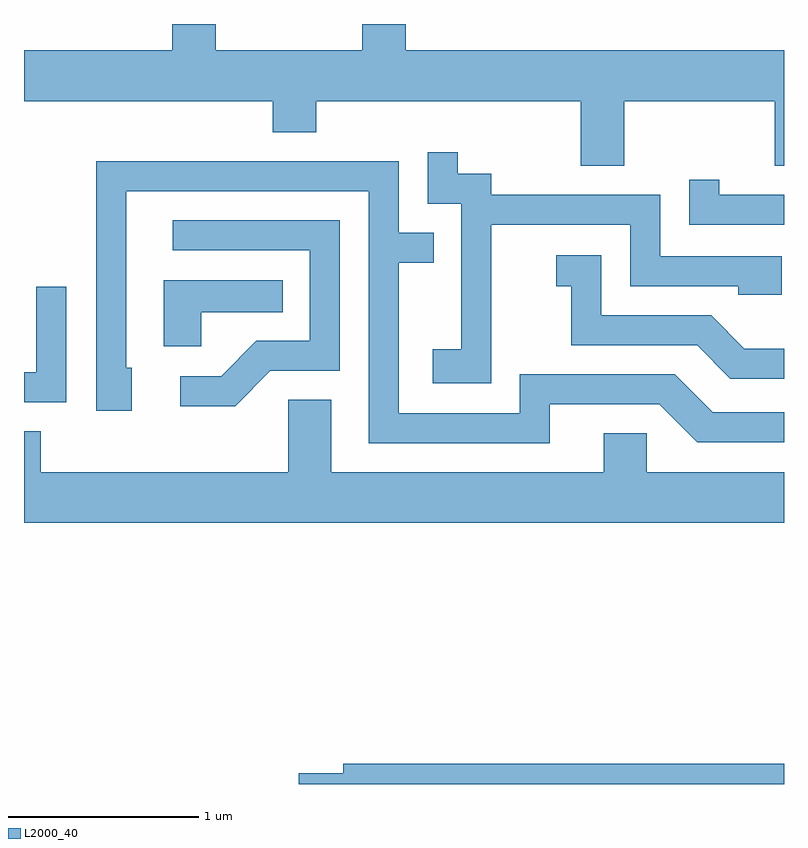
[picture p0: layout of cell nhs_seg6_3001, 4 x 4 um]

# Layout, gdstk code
import gdstk
lib = gdstk.Library(unit=1e-6, precision=1e-09)
def P(c, l, *ps):  # polygons
    for p in ps: c.add(gdstk.Polygon(p, *l))
L2000_40 = (2000, 40)

nhs_seg6_3001 = lib.new_cell('nhs_seg6_3001')
P(nhs_seg6_3001, L2000_40, [(278.769,1607.756),(279.561,1607.756),(279.561,1607.416),(279.611,1607.416),(279.611,1608.024),(277.619,1608.024),(277.619,1608.162),(277.391,1608.162),(277.391,1608.024),(276.619,1608.024),(276.619,1608.162),(276.391,1608.162),(276.391,1608.024),(275.611,1608.024),(275.611,1607.756),(276.921,1607.756),(276.921,1607.591),(277.149,1607.591),(277.149,1607.756),(278.541,1607.756),(278.541,1607.416),(278.769,1607.416)],
  [(278.069,1607.106),(278.801,1607.106),(278.801,1606.781),(279.371,1606.781),(279.371,1606.736),(279.599,1606.736),(279.599,1606.939),(278.959,1606.939),(278.959,1607.264),(278.069,1607.264),(278.069,1607.374),(277.894,1607.374),(277.894,1607.488),(277.736,1607.488),(277.736,1607.216),(277.911,1607.216),(277.911,1606.449),(277.761,1606.449),(277.761,1606.271),(278.069,1606.271)],
  [(278.379,1606.161),(278.954,1606.161),(279.154,1605.961),(279.611,1605.961),(279.611,1606.119),(279.237,1606.119),(279.037,1606.319),(278.221,1606.319),(278.221,1606.114),(277.584,1606.114),(277.584,1606.906),(277.768,1606.906),(277.768,1607.064),(277.584,1607.064),(277.584,1607.439),(275.991,1607.439),(275.991,1606.126),(276.179,1606.126),(276.179,1606.354),(276.149,1606.354),(276.149,1607.281),(277.426,1607.281),(277.426,1605.956),(278.379,1605.956)],
  [(279.611,1607.264),(279.269,1607.264),(279.269,1607.343),(279.111,1607.343),(279.111,1607.106),(279.611,1607.106)],
  [(276.907,1606.336),(277.274,1606.336),(277.274,1607.129),(276.393,1607.129),(276.393,1606.971),(277.116,1606.971),(277.116,1606.494),(276.834,1606.494),(276.649,1606.309),(276.433,1606.309),(276.433,1606.151),(276.722,1606.151)],
  [(279.611,1606.454),(279.402,1606.454),(279.227,1606.629),(278.649,1606.629),(278.649,1606.944),(278.413,1606.944),(278.413,1606.781),(278.491,1606.781),(278.491,1606.471),(279.154,1606.471),(279.329,1606.296),(279.611,1606.296)],
  [(276.544,1606.646),(276.973,1606.646),(276.973,1606.814),(276.346,1606.814),(276.346,1606.466),(276.544,1606.466)],
  [(275.834,1606.778),(275.676,1606.778),(275.676,1606.329),(275.611,1606.329),(275.611,1606.171),(275.834,1606.171)],
  [(279.611,1605.804),(278.889,1605.804),(278.889,1606.009),(278.661,1606.009),(278.661,1605.804),(277.229,1605.804),(277.229,1606.184),(277.001,1606.184),(277.001,1605.804),(275.699,1605.804),(275.699,1606.019),(275.611,1606.019),(275.611,1605.536),(279.611,1605.536)],
  [(279.611,1604.269),(277.291,1604.269),(277.291,1604.219),(277.056,1604.219),(277.056,1604.162),(279.611,1604.162)])

lib.write_gds('nhs_seg6_3001.gds')
